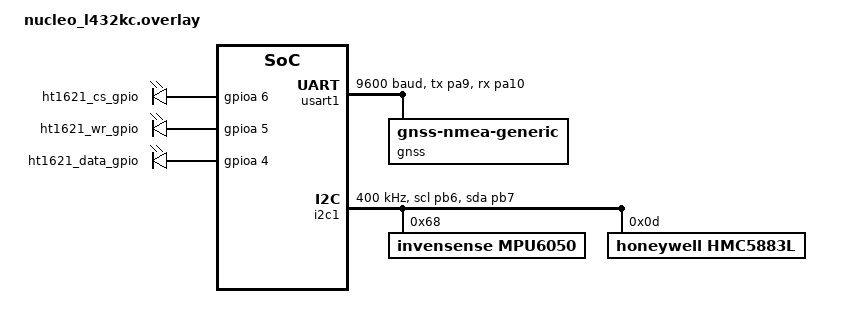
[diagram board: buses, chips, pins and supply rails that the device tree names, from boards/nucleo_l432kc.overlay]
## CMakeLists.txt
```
# SPDX-License-Identifier: Apache-2.0

cmake_minimum_required(VERSION 3.20.0)
# find_package(Zephyr REQUIRED HINTS $ENV{ZEPHYR_BASE})
find_package(Zephyr REQUIRED HINTS /home/luke/zephyrproject/zephyr)

project(gps_compass)

target_sources(app PRIVATE 
    src/main.c
    src/gps_config.c
    src/data_handler.c
    src/command_parser.c
    src/mpu6050_wrapper.c
    src/ht1621.c
    src/hmc5883l.c
)
target_link_libraries(app PUBLIC m)
```

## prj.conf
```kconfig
CONFIG_SERIAL=y
CONFIG_RING_BUFFER=y
CONFIG_UART_INTERRUPT_DRIVEN=y

CONFIG_GNSS=y
CONFIG_GNSS_SATELLITES=y

# Enable FPU
CONFIG_FPU=y
CONFIG_FPU_SHARING=y

CONFIG_CBPRINTF_FP_SUPPORT=y
CONFIG_NEWLIB_LIBC=y
CONFIG_NEWLIB_LIBC_FLOAT_PRINTF=y

# Console configuration
CONFIG_CONSOLE=y
CONFIG_UART_CONSOLE=y
CONFIG_CONSOLE_GETCHAR=y
CONFIG_CONSOLE_PUTCHAR_BUFSIZE=128

# POSIX API
CONFIG_POSIX_API=y

# I2C
CONFIG_I2C=y

# Sensor support
CONFIG_SENSOR=y
CONFIG_MPU6050=y
CONFIG_HMC5883L=y

# Math
CONFIG_NEWLIB_LIBC=y
CONFIG_FPU=y



CONFIG_LOG=y
CONFIG_LOG_MODE_IMMEDIATE=y
CONFIG_LOG_MODE_DEFERRED=n
CONFIG_LOG_BUFFER_SIZE=8192
CONFIG_SENSOR_LOG_LEVEL_DBG=y

CONFIG_GNSS_DUMP_TO_LOG=n
CONFIG_GNSS_LOG_LEVEL_DBG=y
# CONFIG_MAIN_STACK_SIZE=4096

CONFIG_GPIO=y
CONFIG_PRINTK=y
```

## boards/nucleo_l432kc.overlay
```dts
/ {
	aliases {
		gnss = &gnss;
        gps-usart = &usart1;

        // ht1621-cs = &ht1621_cs_pin;
        // ht1621-wr = &ht1621_wr_pin;
        // ht1621-data = &ht1621_data_pin;
	};
};
/ {
    aliases {
        ht1621-cs = &ht1621_cs_gpio;
        ht1621-wr = &ht1621_wr_gpio;
        ht1621-data = &ht1621_data_gpio;
    };

    ht1621_gpios {
        compatible = "gpio-leds";
        ht1621_cs_gpio: ht1621_cs {
            gpios = <&gpioa 6 GPIO_ACTIVE_HIGH>;
        };
        ht1621_wr_gpio: ht1621_wr {
            gpios = <&gpioa 5 GPIO_ACTIVE_HIGH>;
        };
        ht1621_data_gpio: ht1621_data {
            gpios = <&gpioa 4 GPIO_ACTIVE_HIGH>;
        };
    };
};

&usart1 { 
    pinctrl-0 = <&usart1_tx_pa9 &usart1_rx_pa10>; 
    pinctrl-names = "default"; 
    current-speed = <9600>; 
    status = "okay";
    gnss: gnss {
        compatible = "gnss-nmea-generic";
        status = "okay";

    };
};


&i2c1 {
	status = "okay";
	clock-frequency = <I2C_BITRATE_FAST>;
	pinctrl-0 = <&i2c1_scl_pb6 &i2c1_sda_pb7>;
	pinctrl-names = "default";
	
	mpu6050: mpu6050@68 {
		compatible = "invensense,mpu6050";
		reg = <0x68>;
		status = "okay";
	};
	
    hmc5883l: hmc5883l@0d {
        compatible = "honeywell,hmc5883l";
        reg = <0x0d>;
        status = "okay";
    };
};
```

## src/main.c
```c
#include <zephyr/kernel.h>
#include <zephyr/device.h>
#include <zephyr/drivers/gnss.h>
#include <zephyr/logging/log.h>
#include <stdio.h>

#include "data_handler.h"
#include "gps_config.h"
#include "command_parser.h"
#include "mpu6050_wrapper.h"
#include "ht1621.h"
#include "hmc5883l.h"



LOG_MODULE_REGISTER(main, LOG_LEVEL_DBG);

static void gnss_data_cb(const struct device *dev, const struct gnss_data *data)
{
    if (data->info.fix_status != GNSS_FIX_STATUS_NO_FIX) {
        // Update GPS data
        struct gps_data g_data = {
            data->nav_data.speed,
            data->nav_data.bearing,
            data->utc.hour,
            data->utc.minute,
            data->utc.millisecond,
            data->nav_data.latitude,
            data->nav_data.longitude,
            true,
            true
        };
        set_gps_data(g_data);

        // float heading;
        // hmc5883l_get_heading(&heading);
        // printk("heading: %f", heading);
        
        // Stream if enabled
        if (command_parser_is_streaming()) {
            printk("%02u:%02u:%02u.%03u sog: %u.%03u m/s, cog: %u.%03u deg\n",
                    g_data.hour, g_data.minute,
                    g_data.millisecond / 1000, g_data.millisecond % 1000,
                    g_data.sog / 1000, g_data.sog % 1000,
                    g_data.cog / 1000, g_data.cog % 1000);
        }
    }
}

GNSS_DATA_CALLBACK_DEFINE(DEVICE_DT_GET(DT_ALIAS(gnss)), gnss_data_cb);

int main(void)
{
    LOG_INF("GPS Application Starting");
    
    // Initialize command parser
    // command_parser_init();
    
    k_sleep(K_SECONDS(1));
    gps_enable_standard_messages();

    invalidate_sensor_data();

    int ret = mpu6050_wrapper_init();
    if (ret != 0) {
        printk("Failed to init MPU6050: %d\n", ret);
    }

    ret = compass_init();
    if (ret != 0) {
        printk("Failed to init HMC5883L: %d\n", ret);
    } 
    float heading;
    hmc5883l_get_heading(&heading);
    printk("heading: %f", heading);
    // Main loop - can add other tasks here
    while (1) {
        k_sleep(K_FOREVER);
    }
    
    return 0;
}
```

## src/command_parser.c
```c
#include "command_parser.h"
#include "gps_config.h"
#include "data_handler.h"
#include "mpu6050_wrapper.h"
#include <zephyr/kernel.h>
#include <zephyr/device.h>
#include <zephyr/drivers/uart.h>
#include <zephyr/devicetree.h>
#include <string.h>
#include <stdlib.h>
#include <stdio.h>

static bool stream_enabled = false;
static K_MUTEX_DEFINE(stream_mutex);

void command_parser_set_streaming(bool enable)
{
    k_mutex_lock(&stream_mutex, K_FOREVER);
    stream_enabled = enable;
    k_mutex_unlock(&stream_mutex);
}

bool command_parser_is_streaming(void)
{
    bool enabled;
    k_mutex_lock(&stream_mutex, K_FOREVER);
    enabled = stream_enabled;
    k_mutex_unlock(&stream_mutex);
    return enabled;
}

static void process_command(char *cmd)
{
    // Trim trailing whitespace/newline
    int len = strlen(cmd);
    while (len > 0 && (cmd[len-1] == '\n' || cmd[len-1] == '\r' || cmd[len-1] == ' ')) {
        cmd[len-1] = '\0';
        len--;
    }
    
    if (len == 0) {
        return;
    }
    
    // Parse "gps refresh <rate>"
    if (strncmp(cmd, "gps refresh ", 12) == 0) {
        int rate = atoi(cmd + 12);
        if (rate == 1 || rate == 5 || rate == 10) {
            gps_set_refresh_rate(rate);
        } else {
            printk("Error: Invalid rate '%d'. Use: gps refresh <1|5|10>\n", rate);
        }
    }
    // Parse "gps save"
    else if (strcmp(cmd, "gps save") == 0) {
        gps_save_config();
    }
    else if (strcmp(cmd, "accel cal start") == 0) {
        mpu6050_wrapper_calibrate_start();
        printk("Keep device still on level surface for 5 seconds...\n");
    }
    else if (strcmp(cmd, "accel cal stop") == 0) {
        mpu6050_wrapper_calibrate_finish();
    }
    else if (strcmp(cmd, "accel") == 0) {
        mpu6050_data_t data;
        if (mpu6050_wrapper_read(&data) == 0) {
            printk("Pitch: %.1f°, Roll: %.1f°\n", data.pitch, data.roll);
            printk("Accel: X=%.2f Y=%.2f Z=%.2f m/s²\n",
                   data.accel_x, data.accel_y, data.accel_z);
        }
        else{
            printk("Error reading accel values\n");
        }
    }
    // Parse "stream on"
    else if (strcmp(cmd, "stream on") == 0) {
        command_parser_set_streaming(true);
        printk("GPS streaming enabled\n");
    }
    // Parse "stream off"
    else if (strcmp(cmd, "stream off") == 0) {
        command_parser_set_streaming(false);
        printk("GPS streaming disabled\n");
    }
    // Parse "help"
    else if (strcmp(cmd, "help") == 0) {
        printk("\nAvailable commands:\n");
        printk("  gps refresh <1|5|10>  - Set GPS update rate (Hz)\n");
        printk("  gps save              - Save GPS config to flash\n");
        printk("  stream on             - Enable GPS data streaming\n");
        printk("  stream off            - Disable GPS data streaming\n");
        printk("  help                  - Show this help\n\n");
    }
    // Unknown command
    else {
        printk("Unknown command: '%s'\n", cmd);
        printk("Type 'help' for available commands\n");
    }
}

static void command_thread(void)
{
    char line[128];
    int idx = 0;
    uint8_t c;
    
    const struct device *console = DEVICE_DT_GET(DT_CHOSEN(zephyr_console));
    
    if (!device_is_ready(console)) {
        printk("ERROR: Console device not ready!\n");
        return;
    }
    
    k_sleep(K_MSEC(500));
    printk("> ");
    
    while (1) {
        if (uart_poll_in(console, &c) == 0) {
            if (c == '\n' || c == '\r') {
                printk("\n");
                line[idx] = '\0';
                
                if (idx > 0) {
                    process_command(line);
                }
                
                idx = 0;
                printk("> ");
            }
            else if (c == '\b' || c == 127) {
                if (idx > 0) {
                    idx--;
                    printk("\b \b");
                }
            }
            else if (idx < sizeof(line) - 1 && c >= 32 && c <= 126) {
                line[idx++] = c;
                printk("%c", c);
            }
        } else {
            k_msleep(10);
        }
    }
}

K_THREAD_DEFINE(cmd_thread_id, 1024, command_thread, NULL, NULL, NULL, 7, 0, 0);

// void command_parser_init(void) {}
```

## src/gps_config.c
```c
#include "gps_config.h"
#include <zephyr/kernel.h>
#include <zephyr/device.h>
#include <zephyr/drivers/uart.h>
#include <zephyr/devicetree.h>
#include <stdio.h>

// UBX command definitions
static const uint8_t ubx_set_1hz[] = {
    0xB5, 0x62, 0x06, 0x08, 0x06, 0x00,
    0xE8, 0x03, 0x01, 0x00, 0x01, 0x00,
    0x01, 0x39
};

static const uint8_t ubx_set_5hz[] = {
    0xB5, 0x62, 0x06, 0x08, 0x06, 0x00,
    0xC8, 0x00, 0x01, 0x00, 0x01, 0x00,
    0xDE, 0x6A
};

static const uint8_t ubx_set_10hz[] = {
    0xB5, 0x62, 0x06, 0x08, 0x06, 0x00,
    0x64, 0x00, 0x01, 0x00, 0x01, 0x00,
    0x79, 0x10
};

static const uint8_t ubx_save_config[] = {
    0xB5, 0x62, 0x06, 0x09, 0x0D, 0x00,
    0x00, 0x00, 0x00, 0x00,
    0xFF, 0xFF, 0x00, 0x00,
    0x00, 0x00, 0x00, 0x00,
    0x17, 0x31, 0xBF
};

void gps_set_refresh_rate(int hz)
{
    const struct device *uart = DEVICE_DT_GET(DT_ALIAS(gps_usart));
    
    if (!device_is_ready(uart)) {
        printk("Error: GPS UART not ready\n");
        return;
    }
    
    const uint8_t *cmd;
    size_t cmd_len;
    
    switch(hz) {
        case 1:
            cmd = ubx_set_1hz;
            cmd_len = sizeof(ubx_set_1hz);
            break;
        case 5:
            cmd = ubx_set_5hz;
            cmd_len = sizeof(ubx_set_5hz);
            break;
        case 10:
            cmd = ubx_set_10hz;
            cmd_len = sizeof(ubx_set_10hz);
            break;
        default:
            printk("Error: Invalid refresh rate. Use 1, 5, or 10\n");
            return;
    }
    
    printk("Setting GPS refresh rate to %dHz...\n", hz);
    
    for (int i = 0; i < cmd_len; i++) {
        uart_poll_out(uart, cmd[i]);
    }
    
    k_sleep(K_MSEC(100));
    printk("GPS refresh rate set to %dHz\n", hz);
}

void gps_save_config(void)
{
    const struct device *uart = DEVICE_DT_GET(DT_ALIAS(gps_usart));
    
    if (!device_is_ready(uart)) {
        printk("Error: GPS UART not ready\n");
        return;
    }
    
    printk("Saving GPS configuration to flash...\n");
    
    for (int i = 0; i < sizeof(ubx_save_config); i++) {
        uart_poll_out(uart, ubx_save_config[i]);
    }
    
    k_sleep(K_MSEC(500));
    printk("GPS configuration saved\n");
}

// Helper function to calculate UBX checksum
static void ubx_add_checksum(uint8_t *msg, int len)
{
    uint8_t ck_a = 0, ck_b = 0;
    
    // Calculate checksum over message (skip sync chars and checksum bytes)
    for (int i = 2; i < len - 2; i++) {
        ck_a += msg[i];
        ck_b += ck_a;
    }
    
    msg[len - 2] = ck_a;
    msg[len - 1] = ck_b;
}

// UBX-CFG-MSG: Configure message rate for a specific NMEA sentence
// Format: B5 62 06 01 08 00 [CLASS] [ID] [rates for 6 ports] [checksum]
static void gps_set_message_rate(uint8_t msg_class, uint8_t msg_id, uint8_t rate)
{
    const struct device *uart = DEVICE_DT_GET(DT_ALIAS(gps_usart));
    
    if (!device_is_ready(uart)) {
        printk("Error: GPS UART not ready\n");
        return;
    }
    
    uint8_t cmd[] = {
        0xB5, 0x62,     // Header
        0x06, 0x01,     // Class CFG, ID MSG
        0x08, 0x00,     // Length (8 bytes)
        msg_class,      // Message class
        msg_id,         // Message ID
        0x00,           // Rate on I2C
        rate,           // Rate on UART1 (0 = off, 1 = every solution)
        0x00,           // Rate on UART2
        0x00,           // Rate on USB
        0x00,           // Rate on SPI
        0x00,           // Reserved
        0x00, 0x00      // Checksum (will be calculated)
    };
    
    ubx_add_checksum(cmd, sizeof(cmd));
    
    for (int i = 0; i < sizeof(cmd); i++) {
        uart_poll_out(uart, cmd[i]);
    }
    
    k_sleep(K_MSEC(50));
}

// NMEA message classes and IDs
#define NMEA_CLASS 0xF0

#define NMEA_GGA 0x00  // GPS fix data
#define NMEA_GLL 0x01  // Geographic position
#define NMEA_GSA 0x02  // GPS DOP and active satellites
#define NMEA_GSV 0x03  // GPS satellites in view
#define NMEA_RMC 0x04  // Recommended minimum data
#define NMEA_VTG 0x05  // Course over ground and ground speed
#define NMEA_GRS 0x06  // GPS range residuals
#define NMEA_GST 0x07  // GPS pseudorange error statistics
#define NMEA_ZDA 0x08  // Time and date
#define NMEA_GBS 0x09  // GPS satellite fault detection
#define NMEA_DTM 0x0A  // Datum reference
#define NMEA_GNS 0x0D  // GNSS fix data
#define NMEA_THS 0x0E  // True heading and status
#define NMEA_VLW 0x0F  // Dual ground/water distance

// Preset configurations
void gps_disable_all_messages(void)
{
    printk("Disabling all NMEA messages...\n");
    
    gps_set_message_rate(NMEA_CLASS, NMEA_GGA, 0);
    gps_set_message_rate(NMEA_CLASS, NMEA_GLL, 0);
    gps_set_message_rate(NMEA_CLASS, NMEA_GSA, 0);
    gps_set_message_rate(NMEA_CLASS, NMEA_GSV, 0);
    gps_set_message_rate(NMEA_CLASS, NMEA_RMC, 0);
    gps_set_message_rate(NMEA_CLASS, NMEA_VTG, 0);
    gps_set_message_rate(NMEA_CLASS, NMEA_GRS, 0);
    gps_set_message_rate(NMEA_CLASS, NMEA_GST, 0);
    gps_set_message_rate(NMEA_CLASS, NMEA_ZDA, 0);
    gps_set_message_rate(NMEA_CLASS, NMEA_GBS, 0);
    gps_set_message_rate(NMEA_CLASS, NMEA_DTM, 0);
    
    printk("All NMEA messages disabled\n");
}

void gps_enable_minimal_messages(void)
{
    printk("Enabling minimal NMEA messages (RMC only)...\n");
    
    // Disable all
    gps_disable_all_messages();
    
    // Enable only RMC (recommended minimum - has position, speed, time)
    gps_set_message_rate(NMEA_CLASS, NMEA_RMC, 1);
    
    printk("Minimal messages enabled (RMC)\n");
}

void gps_enable_standard_messages(void)
{
    printk("Enabling standard NMEA messages...\n");
    
    // Disable all first
    gps_disable_all_messages();
    
    // Enable common messages
    gps_set_message_rate(NMEA_CLASS, NMEA_GGA, 1);  // Position fix
    gps_set_message_rate(NMEA_CLASS, NMEA_RMC, 1);  // Recommended minimum
    gps_set_message_rate(NMEA_CLASS, NMEA_VTG, 1);  // Speed/course
    
    printk("Standard messages enabled (GGA, RMC, VTG)\n");
}

void gps_enable_all_messages(void)
{
    printk("Enabling all NMEA messages...\n");
    
    gps_set_message_rate(NMEA_CLASS, NMEA_GGA, 1);
    gps_set_message_rate(NMEA_CLASS, NMEA_GLL, 1);
    gps_set_message_rate(NMEA_CLASS, NMEA_GSA, 1);
    gps_set_message_rate(NMEA_CLASS, NMEA_GSV, 1);
    gps_set_message_rate(NMEA_CLASS, NMEA_RMC, 1);
    gps_set_message_rate(NMEA_CLASS, NMEA_VTG, 1);
    
    printk("All main NMEA messages enabled\n");
}

// Individual message control
void gps_set_gga(bool enable) { 
    gps_set_message_rate(NMEA_CLASS, NMEA_GGA, enable ? 1 : 0); 
}

void gps_set_rmc(bool enable) { 
    gps_set_message_rate(NMEA_CLASS, NMEA_RMC, enable ? 1 : 0); 
}

void gps_set_vtg(bool enable) { 
    gps_set_message_rate(NMEA_CLASS, NMEA_VTG, enable ? 1 : 0); 
}

void gps_set_gsa(bool enable) { 
    gps_set_message_rate(NMEA_CLASS, NMEA_GSA, enable ? 1 : 0); 
}

void gps_set_gsv(bool enable) { 
    gps_set_message_rate(NMEA_CLASS, NMEA_GSV, enable ? 1 : 0); 
}

void gps_set_gll(bool enable) { 
    gps_set_message_rate(NMEA_CLASS, NMEA_GLL, enable ? 1 : 0); 
}

// // Set UART baud rate to 38400
// static const uint8_t ubx_set_baud_38400[] = {
//     0xB5, 0x62,     // Header
//     0x06, 0x00,     // Class CFG, ID PRT (port config)
//     0x14, 0x00,     // Length (20 bytes)
//     0x01,           // Port ID (UART1)
//     0x00,           // Reserved
//     0x00, 0x00,     // txReady (disabled)
//     0xD0, 0x08, 0x00, 0x00,  // Mode (8N1)
//     0x00, 0x96, 0x00, 0x00,  // Baud rate: 38400 (0x9600 in little-endian)
//     0x07, 0x00,     // Input protocols (UBX + NMEA + RTCM)
//     0x03, 0x00,     // Output protocols (UBX + NMEA)
//     0x00, 0x00,     // Flags
//     0x00, 0x00,     // Reserved
//     0x97, 0x6F      // Checksum
// };

// void gps_set_baud_38400(void)
// {
//     const struct device *uart = DEVICE_DT_GET(DT_ALIAS(gps_usart));
    
//     if (!device_is_ready(uart)) {
//         return;
//     }
    
//     printk("Setting GPS UART to 38400 baud...\n");
    
//     for (int i = 0; i < sizeof(ubx_set_baud_38400); i++) {
//         uart_poll_out(uart, ubx_set_baud_38400[i]);
//     }
    
//     k_sleep(K_MSEC(100));
// }
```

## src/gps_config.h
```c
#ifndef GPS_CONFIG_H
#define GPS_CONFIG_H

#include <stdbool.h>

// Refresh rate control
void gps_set_refresh_rate(int hz);
void gps_save_config(void);

// Message configuration presets
void gps_disable_all_messages(void);
void gps_enable_minimal_messages(void);    // RMC only
void gps_enable_standard_messages(void);   // GGA, RMC, VTG
void gps_enable_all_messages(void);

// Individual message control
void gps_set_gga(bool enable);  // GPS fix data
void gps_set_rmc(bool enable);  // Recommended minimum
void gps_set_vtg(bool enable);  // Speed/course
void gps_set_gsa(bool enable);  // Satellites used
void gps_set_gsv(bool enable);  // Satellites in view
void gps_set_gll(bool enable);  // Geographic position

// // Sets baud to 38400
// void gps_set_baud_38400();      

#endif // GPS_CONFIG_H
```

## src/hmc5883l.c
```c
#include "hmc5883l.h"
#include <zephyr/device.h>
#include <zephyr/drivers/sensor.h>
#include <zephyr/devicetree.h>
#include <zephyr/logging/log.h>
#include <math.h>

#ifndef M_PI
#define M_PI 3.14159265358979323846f
#endif

static const struct device *hmc5883l_dev = NULL;
static K_MUTEX_DEFINE(hmc5883l_mutex);

int compass_init(void){
    hmc5883l_dev = DEVICE_DT_GET_ANY(honeywell_hmc5883l);;
    if (!device_is_ready(hmc5883l_dev)) {
        printk("HMC5883L device not ready\n");
        return -ENODEV;
    }
    
    return 0; 
}

int hmc5883l_read_mag(float *mx, float *my, float *mz){
    struct sensor_value mag[3];
    
    if (hmc5883l_dev == NULL || !device_is_ready(hmc5883l_dev)) {
        return -ENODEV;
    }
    
    // Fetch sensor data
    if (sensor_sample_fetch(hmc5883l_dev) < 0) {
        return -EIO;
    }
    
    // Get X, Y, Z magnetic field values
    sensor_channel_get(hmc5883l_dev, SENSOR_CHAN_MAGN_X, &mag[0]);
    sensor_channel_get(hmc5883l_dev, SENSOR_CHAN_MAGN_Y, &mag[1]);
    sensor_channel_get(hmc5883l_dev, SENSOR_CHAN_MAGN_Z, &mag[2]);
    
    // Convert to float (Gauss) - USE sensor_value_to_double!
    *mx = sensor_value_to_double(&mag[0]);
    *my = sensor_value_to_double(&mag[1]);
    *mz = sensor_value_to_double(&mag[2]);
 
    return 0;
}

int hmc5883l_get_heading(float *heading){
    float mx, my, mz;
    
    if (hmc5883l_read_mag(&mx, &my, &mz) != 0) {
        return -1;
    }
    
    // Calculate heading in radians
    float heading_rad = atan2f(my, mx);
    
    // Convert to degrees
    float heading_deg = heading_rad * 180.0f / M_PI;  // Use M_PI constant
    
    // Apply declination correction
    heading_deg += -11.5f;
    
    // Normalize to 0-360 degrees
    if (heading_deg < 0) {
        heading_deg += 360.0f;
    }
    if (heading_deg >= 360.0f) {
        heading_deg -= 360.0f;
    }
    
    *heading = heading_deg;
    return 0;
}

int hmc5883l_is_ready(void){
    return (hmc5883l_dev != NULL) && device_is_ready(hmc5883l_dev);
}
```

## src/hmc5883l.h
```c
#ifndef HMC5883L_H
#define HMC5883L_H

#include <zephyr/kernel.h>
#include <stdbool.h>

// Accelerometer data structure
typedef struct {
    float xmag;
    float ymag;
    float zmag;
} hmc5883l_data_t;


int compass_init(void);

int hmc5883l_read_mag(float *mx, float *my, float *mz);

int hmc5883l_get_heading(float *heading);

int hmc5883l_is_ready(void);

#endif // HMC5883L_H
```

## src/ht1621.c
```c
/*
 * ht1621.c - HT1621 LCD Driver Library Implementation
 */

#include <zephyr/device.h>
#include <zephyr/drivers/gpio.h>
#include <zephyr/sys/printk.h>
#include "ht1621.h"

/* HT1621 Commands */
#define HT1621_CMD_SYS_DIS  0x00  /* System disable */
#define HT1621_CMD_SYS_EN   0x01  /* System enable */
#define HT1621_CMD_LCD_OFF  0x02  /* LCD off */
#define HT1621_CMD_LCD_ON   0x03  /* LCD on */
#define HT1621_CMD_RC_256K  0x18  /* RC 256K */

/* Default bias/commons - can be overridden */
#define HT1621_CMD_BIAS_DEFAULT  0x29  /* 1/3 bias, 3 commons */

/* GPIO Pin Definitions */
#define CS_NODE   DT_ALIAS(ht1621_cs)
#define WR_NODE   DT_ALIAS(ht1621_wr)
#define DATA_NODE DT_ALIAS(ht1621_data)

static const struct gpio_dt_spec cs_pin = GPIO_DT_SPEC_GET(CS_NODE, gpios);
static const struct gpio_dt_spec wr_pin = GPIO_DT_SPEC_GET(WR_NODE, gpios);
static const struct gpio_dt_spec data_pin = GPIO_DT_SPEC_GET(DATA_NODE, gpios);

/* Timing delays (in microseconds) */
#define HT1621_DELAY_US 2

/*
 * 7-segment digit encoding
 * Segment layout:
 *      A
 *     ---
 *  F |   | B
 *     -G-
 *  E |   | C
 *     ---
 *      D
 * 
 * Bit mapping: 0bGFEDCBA (bit 7 = decimal point)
 */
static const uint8_t digit_segments[] = {
    0b00111111,  /* 0 */
    0b00000110,  /* 1 */
    0b01011011,  /* 2 */
    0b01001111,  /* 3 */
    0b01100110,  /* 4 */
    0b01101101,  /* 5 */
    0b01111101,  /* 6 */
    0b00000111,  /* 7 */
    0b01111111,  /* 8 */
    0b01101111,  /* 9 */
};

/* Hex digits A-F */
static const uint8_t hex_segments[] = {
    0b01110111,  /* A */
    0b01111100,  /* b */
    0b00111001,  /* C */
    0b01011110,  /* d */
    0b01111001,  /* E */
    0b01110001,  /* F */
};

/* Special characters */
#define SEG_MINUS   0b01000000  /* - */
#define SEG_BLANK   0b00000000  /* blank */
#define SEG_DP      0b10000000  /* decimal point (bit 7) */

/* Function to write bits to HT1621 */
static void ht1621_write_bits(uint8_t data, uint8_t bits)
{
    for (int i = 0; i < bits; i++) {
        gpio_pin_set_dt(&wr_pin, 0);
        k_usleep(HT1621_DELAY_US);
        
        if (data & (1 << (bits - 1 - i))) {
            gpio_pin_set_dt(&data_pin, 1);
        } else {
            gpio_pin_set_dt(&data_pin, 0);
        }
        
        k_usleep(HT1621_DELAY_US);
        gpio_pin_set_dt(&wr_pin, 1);
        k_usleep(HT1621_DELAY_US);
    }
}

/* Send command to HT1621 */
static void ht1621_send_command(uint8_t cmd)
{
    gpio_pin_set_dt(&cs_pin, 0);
    k_usleep(HT1621_DELAY_US);
    
    ht1621_write_bits(0x80, 4);  /* Command mode: 100 */
    ht1621_write_bits(cmd, 8);   /* Command data */
    
    gpio_pin_set_dt(&cs_pin, 1);
    k_usleep(HT1621_DELAY_US);
}

void ht1621_write_data(uint8_t addr, uint8_t data)
{
    gpio_pin_set_dt(&cs_pin, 0);
    k_usleep(HT1621_DELAY_US);
    
    ht1621_write_bits(0xA0, 3);  /* Write mode: 101 */
    ht1621_write_bits(addr, 6);  /* Address (6 bits) */
    ht1621_write_bits(data, 4);  /* Data (4 bits per address) */
    
    gpio_pin_set_dt(&cs_pin, 1);
    k_usleep(HT1621_DELAY_US);
}

int ht1621_init(void)
{
    return ht1621_init_with_config(HT1621_CMD_BIAS_DEFAULT);
}

int ht1621_init_with_config(ht1621_bias_com_t bias_com)
{
    int ret;
    
    /* Initialize GPIO pins */
    if (!gpio_is_ready_dt(&cs_pin) || 
        !gpio_is_ready_dt(&wr_pin) || 
        !gpio_is_ready_dt(&data_pin)) {
        printk("GPIO devices not ready\n");
        return -ENODEV;
    }
    
    ret = gpio_pin_configure_dt(&cs_pin, GPIO_OUTPUT_INACTIVE);
    if (ret < 0) return ret;
    
    ret = gpio_pin_configure_dt(&wr_pin, GPIO_OUTPUT_INACTIVE);
    if (ret < 0) return ret;
    
    ret = gpio_pin_configure_dt(&data_pin, GPIO_OUTPUT_INACTIVE);
    if (ret < 0) return ret;
    
    /* Initialize HT1621 */
    gpio_pin_set_dt(&cs_pin, 1);
    gpio_pin_set_dt(&wr_pin, 1);
    gpio_pin_set_dt(&data_pin, 1);
    
    k_msleep(100);
    
    printk("HT1621: Using bias/commons config: 0x%02X\n", bias_com);
    ht1621_send_command(bias_com);
    ht1621_send_command(HT1621_CMD_RC_256K);
    ht1621_send_command(HT1621_CMD_SYS_EN);
    ht1621_send_command(HT1621_CMD_LCD_ON);
    
    printk("HT1621 initialized\n");
    return 0;
}

void ht1621_clear(void)
{
    for (uint8_t i = 0; i < 32; i++) {
        ht1621_write_data(i, 0x00);
    }
}

void ht1621_display_digit(uint8_t position, uint8_t digit, bool decimal_point)
{
    if (position >= HT1621_MAX_DIGITS) {
        return;
    }
    
    uint8_t segments = 0;
    
    if (digit <= 9) {
        segments = digit_segments[digit];
    } else if (digit >= 0x0A && digit <= 0x0F) {
        segments = hex_segments[digit - 0x0A];
    } else if (digit == HT1621_BLANK) {
        segments = SEG_BLANK;
    } else if (digit == HT1621_MINUS) {
        segments = SEG_MINUS;
    }
    
    if (decimal_point) {
        segments |= SEG_DP;
    }
    
    /* Each digit typically occupies 2 addresses (8 bits for 7 segments + DP)
     * Address = position * 2
     * Adjust this based on your LCD's memory map
     */
    uint8_t addr = position * 2;
    
    /* Write lower nibble */
    ht1621_write_data(addr, segments & 0x0F);
    /* Write upper nibble */
    ht1621_write_data(addr + 1, (segments >> 4) & 0x0F);
}

void ht1621_display_number(int32_t number, bool leading_zeros)
{
    bool is_negative = false;
    uint8_t digits[HT1621_MAX_DIGITS] = {0};
    uint8_t digit_count = 0;
    
    /* Handle negative numbers */
    if (number < 0) {
        is_negative = true;
        number = -number;
    }
    
    /* Extract digits */
    if (number == 0) {
        digits[0] = 0;
        digit_count = 1;
    } else {
        uint32_t temp = number;
        while (temp > 0 && digit_count < HT1621_MAX_DIGITS) {
            digits[digit_count++] = temp % 10;
            temp /= 10;
        }
    }
    
    /* Display digits (reverse order) */
    uint8_t display_pos = 0;
    
    /* Add negative sign if needed */
    if (is_negative && display_pos < HT1621_MAX_DIGITS) {
        ht1621_display_digit(display_pos++, HT1621_MINUS, false);
    }
    
    /* Display leading zeros or blanks */
    if (leading_zeros) {
        for (int i = digit_count - 1; i >= 0 && display_pos < HT1621_MAX_DIGITS; i--) {
            ht1621_display_digit(display_pos++, digits[i], false);
        }
        /* Fill remaining positions with zeros */
        while (display_pos < HT1621_MAX_DIGITS) {
            ht1621_display_digit(display_pos++, 0, false);
        }
    } else {
        /* Display number without leading zeros */
        for (int i = digit_count - 1; i >= 0 && display_pos < HT1621_MAX_DIGITS; i--) {
            ht1621_display_digit(display_pos++, digits[i], false);
        }
        /* Blank remaining positions */
        while (display_pos < HT1621_MAX_DIGITS) {
            ht1621_display_digit(display_pos++, HT1621_BLANK, false);
        }
    }
}

void ht1621_display_float(float number, uint8_t decimals)
{
    if (decimals > 3) decimals = 3;
    
    bool is_negative = false;
    if (number < 0) {
        is_negative = true;
        number = -number;
    }
    
    /* Scale and convert to integer */
    int32_t scaled = (int32_t)(number * 1000);
    uint8_t digits[HT1621_MAX_DIGITS] = {0};
    uint8_t digit_count = 0;
    
    /* Extract digits */
    for (int i = 0; i < 6; i++) {
        digits[i] = scaled % 10;
        scaled /= 10;
        digit_count++;
        if (scaled == 0 && i >= decimals) break;
    }
    
    /* Display */
    uint8_t display_pos = 0;
    
    if (is_negative && display_pos < HT1621_MAX_DIGITS) {
        ht1621_display_digit(display_pos++, HT1621_MINUS, false);
    }
    
    for (int i = digit_count - 1; i >= 0 && display_pos < HT1621_MAX_DIGITS; i--) {
        bool dp = (i == decimals - 1 && decimals > 0);
        ht1621_display_digit(display_pos++, digits[i], dp);
    }
    
    while (display_pos < HT1621_MAX_DIGITS) {
        ht1621_display_digit(display_pos++, HT1621_BLANK, false);
    }
}

void ht1621_display_hex(uint32_t number)
{
    for (int i = HT1621_MAX_DIGITS - 1; i >= 0; i--) {
        uint8_t digit = (number >> (i * 4)) & 0x0F;
        ht1621_display_digit(HT1621_MAX_DIGITS - 1 - i, digit, false);
    }
}

void ht1621_test_digits(void)
{
    printk("Testing digit display...\n");
    
    /* Count 0-9 on all positions */
    for (uint8_t digit = 0; digit <= 9; digit++) {
        for (uint8_t pos = 0; pos < HT1621_MAX_DIGITS; pos++) {
            ht1621_display_digit(pos, digit, false);
        }
        k_msleep(500);
    }
}
```

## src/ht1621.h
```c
/*
 * ht1621.h - HT1621 LCD Driver Library for Zephyr
 * 
 * Driver for HT1621 RAM mapping LCD controller using bit-banged 3-wire interface
 */

#ifndef HT1621_H
#define HT1621_H

#include <zephyr/kernel.h>
#include <stdint.h>
#include <stdbool.h>

#ifdef __cplusplus
extern "C" {
#endif

/* Display Configuration */
#define HT1621_MAX_DIGITS   6     /* Maximum number of digits supported */

/* Special display values for ht1621_display_digit() */
#define HT1621_BLANK        0xFF  /* Blank digit */
#define HT1621_MINUS        0xFE  /* Minus sign */

/* Bias and Commons Configuration Options */
typedef enum {
    HT1621_BIAS_1_2_2COM = 0x20,  /* 1/2 bias, 2 commons */
    HT1621_BIAS_1_3_2COM = 0x24,  /* 1/3 bias, 2 commons */
    HT1621_BIAS_1_2_3COM = 0x28,  /* 1/2 bias, 3 commons */
    HT1621_BIAS_1_3_3COM = 0x29,  /* 1/3 bias, 3 commons (most common) */
    HT1621_BIAS_1_2_4COM = 0x2C,  /* 1/2 bias, 4 commons */
    HT1621_BIAS_1_3_4COM = 0x2D   /* 1/3 bias, 4 commons */
} ht1621_bias_com_t;

/**
 * @brief Initialize the HT1621 LCD driver
 * 
 * Configures GPIO pins and initializes the HT1621 controller.
 * Must be called before any other HT1621 functions.
 * 
 * @return 0 on success, negative error code on failure
 */
int ht1621_init(void);

/**
 * @brief Initialize the HT1621 LCD driver with custom bias/commons config
 * 
 * Use this if your display requires different bias/commons settings.
 * Common configurations:
 * - HT1621_BIAS_1_3_3COM: 1/3 bias, 3 commons (most common for 6-digit)
 * - HT1621_BIAS_1_3_4COM: 1/3 bias, 4 commons
 * - HT1621_BIAS_1_2_4COM: 1/2 bias, 4 commons
 * 
 * @param bias_com Bias and commons configuration
 * @return 0 on success, negative error code on failure
 */
int ht1621_init_with_config(ht1621_bias_com_t bias_com);

/**
 * @brief Clear the entire display
 * 
 * Sets all display segments to off (blank)
 */
void ht1621_clear(void);

/**
 * @brief Write raw data to a specific HT1621 address
 * 
 * Low-level function for direct memory access.
 * Most users should use the higher-level display functions instead.
 * 
 * @param addr Address to write to (0-31)
 * @param data 4-bit data value to write
 */
void ht1621_write_data(uint8_t addr, uint8_t data);

/**
 * @brief Display a single digit at specified position
 * 
 * @param position Digit position (0 = leftmost, up to HT1621_MAX_DIGITS-1)
 * @param digit Digit to display:
 *              - 0-9: numeric digits
 *              - 0x0A-0x0F: hexadecimal A-F
 *              - HT1621_BLANK (0xFF): blank/space
 *              - HT1621_MINUS (0xFE): minus sign
 * @param decimal_point true to show decimal point after this digit
 */
void ht1621_display_digit(uint8_t position, uint8_t digit, bool decimal_point);

/**
 * @brief Display an integer number
 * 
 * Displays integers from -999999 to 999999.
 * Handles negative numbers with a minus sign.
 * 
 * @param number Integer value to display
 * @param leading_zeros true to show leading zeros (e.g., 000042),
 *                      false to blank leading positions (e.g., "    42")
 * 
 * @example
 * ht1621_display_number(12345, false);  // Shows "12345 "
 * ht1621_display_number(-42, false);    // Shows "-42   "
 * ht1621_display_number(7, true);       // Shows "000007"
 */
void ht1621_display_number(int32_t number, bool leading_zeros);

/**
 * @brief Display a floating point number
 * 
 * Displays floating point values with specified decimal places.
 * Handles negative numbers with a minus sign.
 * 
 * @param number Floating point value to display
 * @param decimals Number of decimal places (0-3)
 * 
 * @example
 * ht1621_display_float(3.14159, 2);   // Shows "3.14  "
 * ht1621_display_float(-98.765, 1);   // Shows "-98.7 "
 * ht1621_display_float(42.0, 0);      // Shows "42    "
 */
void ht1621_display_float(float number, uint8_t decimals);

/**
 * @brief Display a hexadecimal number
 * 
 * Displays hex values from 0x000000 to 0xFFFFFF.
 * All 6 digits are always shown with leading zeros.
 * 
 * @param number Hexadecimal value to display (up to 24 bits)
 * 
 * @example
 * ht1621_display_hex(0xABCDEF);  // Shows "ABCDEF"
 * ht1621_display_hex(0x42);      // Shows "000042"
 */
void ht1621_display_hex(uint32_t number);

/**
 * @brief Test function - cycle through all digits
 * 
 * Displays digits 0-9 sequentially on all positions.
 * Useful for testing display functionality and segment mapping.
 */
void ht1621_test_digits(void);

#ifdef __cplusplus
}
#endif

#endif /* HT1621_H */
```

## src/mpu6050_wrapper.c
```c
#include "mpu6050_wrapper.h"
#include <zephyr/device.h>
#include <zephyr/drivers/sensor.h>
#include <zephyr/devicetree.h>
#include <zephyr/logging/log.h>
#include <math.h>

LOG_MODULE_REGISTER(mpu6050_wrapper, LOG_LEVEL_DBG);

#define RAD_TO_DEG (180.0f / 3.14159265359f)

static const struct device *mpu6050_dev = NULL;
static mpu6050_cal_t cal = {0};
static bool calibrating = false;
static float cal_sum_x = 0, cal_sum_y = 0, cal_sum_z = 0;
static int cal_samples = 0;
static K_MUTEX_DEFINE(mpu6050_mutex);

int mpu6050_wrapper_init(void)
{
    mpu6050_dev = DEVICE_DT_GET(DT_NODELABEL(mpu6050));
    
    if (!device_is_ready(mpu6050_dev)) {
        printk("MPU6050 device not ready");
        return -ENODEV;
    }
    
    // Default calibration
    cal.accel_scale_x = 1.0f;
    cal.accel_scale_y = 1.0f;
    cal.accel_scale_z = 1.0f;
    
    LOG_INF("MPU6050 initialized");
    return 0;
}

bool mpu6050_wrapper_is_ready(void)
{
    return (mpu6050_dev != NULL) && device_is_ready(mpu6050_dev);
}

int mpu6050_wrapper_read_accel(float *ax, float *ay, float *az)
{
    struct sensor_value accel[3];
    
    if (!mpu6050_wrapper_is_ready()) {
        return -ENODEV;
    }
    
    if (sensor_sample_fetch(mpu6050_dev) < 0) {
        return -EIO;
    }
    
    sensor_channel_get(mpu6050_dev, SENSOR_CHAN_ACCEL_X, &accel[0]);
    sensor_channel_get(mpu6050_dev, SENSOR_CHAN_ACCEL_Y, &accel[1]);
    sensor_channel_get(mpu6050_dev, SENSOR_CHAN_ACCEL_Z, &accel[2]);
    
    // Apply calibration
    *ax = (sensor_value_to_double(&accel[0]) - cal.accel_offset_x) * cal.accel_scale_x;
    *ay = (sensor_value_to_double(&accel[1]) - cal.accel_offset_y) * cal.accel_scale_y;
    *az = (sensor_value_to_double(&accel[2]) - cal.accel_offset_z) * cal.accel_scale_z;
    
    return 0;
}

int mpu6050_wrapper_get_orientation(float *pitch, float *roll)
{
    float ax, ay, az;
    
    if (mpu6050_wrapper_read_accel(&ax, &ay, &az) != 0) {
        return -EIO;
    }
    
    // Normalize
    float norm = sqrtf(ax*ax + ay*ay + az*az);
    if (norm < 0.1f) {
        return -EINVAL;
    }
    ax /= norm;
    ay /= norm;
    az /= norm;
    
    // Calculate pitch and roll
    *pitch = asinf(-ax) * RAD_TO_DEG;
    *roll = atan2f(ay, az) * RAD_TO_DEG;
    
    return 0;
}

int mpu6050_wrapper_read(mpu6050_data_t *data)
{
    struct sensor_value accel[3], gyro[3];
    
    if (!mpu6050_wrapper_is_ready()) {
        return -ENODEV;
    }
    
    if (sensor_sample_fetch(mpu6050_dev) < 0) {
        return -EIO;
    }
    
    // Get accelerometer
    sensor_channel_get(mpu6050_dev, SENSOR_CHAN_ACCEL_X, &accel[0]);
    sensor_channel_get(mpu6050_dev, SENSOR_CHAN_ACCEL_Y, &accel[1]);
    sensor_channel_get(mpu6050_dev, SENSOR_CHAN_ACCEL_Z, &accel[2]);
    
    // Get gyroscope
    sensor_channel_get(mpu6050_dev, SENSOR_CHAN_GYRO_X, &gyro[0]);
    sensor_channel_get(mpu6050_dev, SENSOR_CHAN_GYRO_Y, &gyro[1]);
    sensor_channel_get(mpu6050_dev, SENSOR_CHAN_GYRO_Z, &gyro[2]);
    
    // Apply calibration
    data->accel_x = (sensor_value_to_double(&accel[0]) - cal.accel_offset_x) * cal.accel_scale_x;
    data->accel_y = (sensor_value_to_double(&accel[1]) - cal.accel_offset_y) * cal.accel_scale_y;
    data->accel_z = (sensor_value_to_double(&accel[2]) - cal.accel_offset_z) * cal.accel_scale_z;
    
    data->gyro_x = sensor_value_to_double(&gyro[0]);
    data->gyro_y = sensor_value_to_double(&gyro[1]);
    data->gyro_z = sensor_value_to_double(&gyro[2]);
    
    // Calculate orientation
    mpu6050_wrapper_get_orientation(&data->pitch, &data->roll);
    
    data->valid = true;
    
    return 0;
}

void mpu6050_wrapper_calibrate_start(void)
{
    k_mutex_lock(&mpu6050_mutex, K_FOREVER);
    calibrating = true;
    cal_sum_x = cal_sum_y = cal_sum_z = 0;
    cal_samples = 0;
    k_mutex_unlock(&mpu6050_mutex);
    LOG_INF("MPU6050 calibration started - keep device still");
}

void mpu6050_wrapper_calibrate_update(void)
{
    if (!calibrating) return;
    
    struct sensor_value accel[3];
    
    if (sensor_sample_fetch(mpu6050_dev) < 0) return;
    
    sensor_channel_get(mpu6050_dev, SENSOR_CHAN_ACCEL_X, &accel[0]);
    sensor_channel_get(mpu6050_dev, SENSOR_CHAN_ACCEL_Y, &accel[1]);
    sensor_channel_get(mpu6050_dev, SENSOR_CHAN_ACCEL_Z, &accel[2]);
    
    float ax = sensor_value_to_double(&accel[0]);
    float ay = sensor_value_to_double(&accel[1]);
    float az = sensor_value_to_double(&accel[2]);
    
    k_mutex_lock(&mpu6050_mutex, K_FOREVER);
    cal_sum_x += ax;
    cal_sum_y += ay;
    cal_sum_z += az;
    cal_samples++;
    k_mutex_unlock(&mpu6050_mutex);
}

void mpu6050_wrapper_calibrate_finish(void)
{
    k_mutex_lock(&mpu6050_mutex, K_FOREVER);
    calibrating = false;
    
    if (cal_samples > 0) {
        cal.accel_offset_x = cal_sum_x / cal_samples;
        cal.accel_offset_y = cal_sum_y / cal_samples;
        cal.accel_offset_z = (cal_sum_z / cal_samples) - 9.81f;
        
        LOG_INF("MPU6050 calibration complete (%d samples)", cal_samples);
        LOG_INF("  Offsets: X=%.3f Y=%.3f Z=%.3f",
                cal.accel_offset_x, cal.accel_offset_y, cal.accel_offset_z);
    }
    k_mutex_unlock(&mpu6050_mutex);
}

void mpu6050_wrapper_get_calibration(mpu6050_cal_t *cal_out)
{
    if (cal_out) {
        k_mutex_lock(&mpu6050_mutex, K_FOREVER);
        *cal_out = cal;
        k_mutex_unlock(&mpu6050_mutex);
    }
}

void mpu6050_wrapper_set_calibration(const mpu6050_cal_t *cal_in)
{
    if (cal_in) {
        k_mutex_lock(&mpu6050_mutex, K_FOREVER);
        cal = *cal_in;
        k_mutex_unlock(&mpu6050_mutex);
        LOG_INF("MPU6050 calibration loaded");
    }
}
```

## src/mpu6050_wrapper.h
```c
#ifndef MPU6050_WRAPPER_H
#define MPU6050_WRAPPER_H

#include <zephyr/kernel.h>
#include <stdbool.h>

// Accelerometer data structure
typedef struct {
    float accel_x;  // m/s²
    float accel_y;
    float accel_z;
    float gyro_x;   // rad/s
    float gyro_y;
    float gyro_z;
    float pitch;    // Calculated pitch (degrees)
    float roll;     // Calculated roll (degrees)
    bool valid;
} mpu6050_data_t;

// Accelerometer calibration
typedef struct {
    float accel_offset_x;
    float accel_offset_y;
    float accel_offset_z;
    float accel_scale_x;
    float accel_scale_y;
    float accel_scale_z;
} mpu6050_cal_t;

// Initialize MPU6050
int mpu6050_wrapper_init(void);

// Read accelerometer data (raw)
int mpu6050_wrapper_read_accel(float *ax, float *ay, float *az);

// Read full data with calculated pitch/roll
int mpu6050_wrapper_read(mpu6050_data_t *data);

// Get pitch and roll
int mpu6050_wrapper_get_orientation(float *pitch, float *roll);

// Calibration
void mpu6050_wrapper_calibrate_start(void);
void mpu6050_wrapper_calibrate_update(void);
void mpu6050_wrapper_calibrate_finish(void);
void mpu6050_wrapper_get_calibration(mpu6050_cal_t *cal);
void mpu6050_wrapper_set_calibration(const mpu6050_cal_t *cal);

// Check if ready
bool mpu6050_wrapper_is_ready(void);

#endif // MPU6050_WRAPPER_H
```
